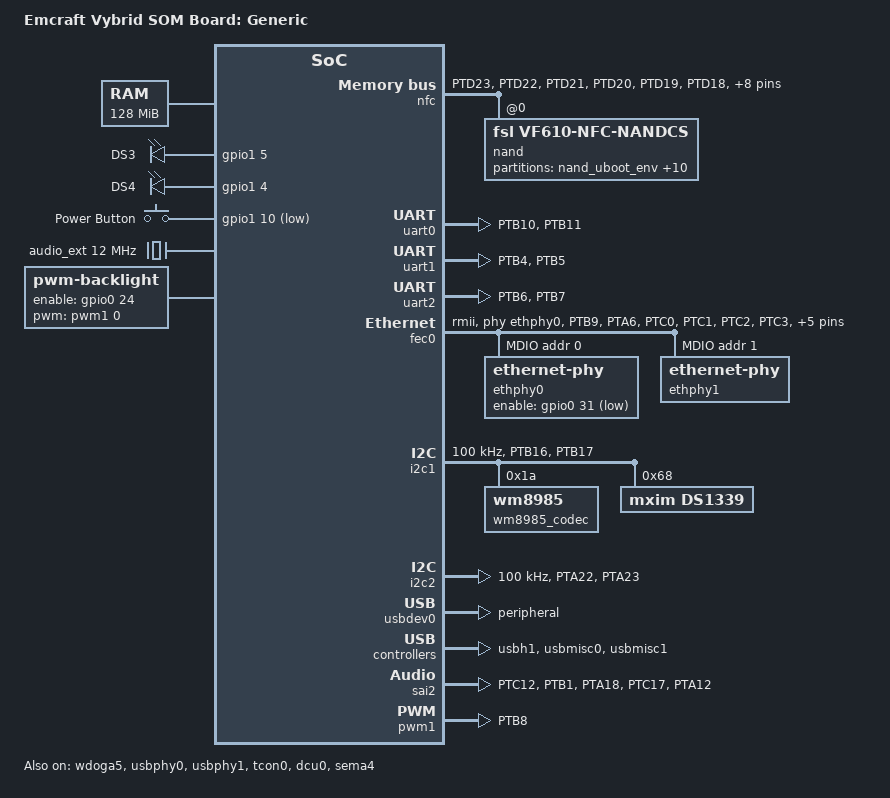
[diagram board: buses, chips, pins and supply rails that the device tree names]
/*
 * Copyright 2015 EmCraft Systems
 *
 * This program is free software; you can redistribute it and/or modify
 * it under the terms of the GNU General Public License as published by
 * the Free Software Foundation; either version 2 of the License, or
 * (at your option) any later version.
 */

/dts-v1/;
#include "vf610.dtsi"
#include <dt-bindings/input/input.h>

/ {
	model = "Emcraft Vybrid SOM Board: Generic";
	compatible = "fsl,vf610";

	aliases {
		ethernet0 = &fec0;
		i2c1 = &i2c1;
		i2c2 = &i2c2;
		spi0 = &dspi0;
		ds1339 = &ds1339;
	};

	memory {
		#address-cells = <1>;
		#size-cells = <1>;
		reg = <0x80000000 0x8000000>;
	};

	ocram0: sram@3f000000 {
		compatible = "mmio-sram";
		reg = <0x3f000000 0x40000>;
	};

	ddrmc0: ddrmc@400ae000 {
		compatible = "emcraft,ddrmc";
		reg = <0x400ae000 0x1000>;
	};

	soc {
		interrupt-parent = <&gpc>;
	
		aips0: aips-bus@40000000 {
			intc: interrupt-controller@40002000 {
				compatible = "arm,cortex-a9-gic";
				#interrupt-cells = <3>;
				interrupt-controller;
				interrupt-parent = <&intc>;
				reg = <0x40003000 0x1000>,
				      <0x40002100 0x100>;
			};

			global_timer: timer@40002200 {
				compatible = "arm,cortex-a9-global-timer";
				reg = <0x40002200 0x20>;
				interrupts = <11 IRQ_TYPE_LEVEL_HIGH>;
				interrupt-parent = <&intc>;
				clocks = <&clks VF610_CLK_PLATFORM_BUS>;
			};

			gpc: gpc@4006c000 {
				compatible = "fsl,vf610-gpc";
				reg = <0x4006c000 0x1000>;
				interrupt-controller;
				#interrupt-cells = <2>;
				interrupt-parent = <&mscm_ir>;
			};

			clks: ccm@4006b000 {
				compatible = "fsl,vf610-ccm";
				reg = <0x4006b000 0x1000>;
				clocks = <&sxosc>, <&fxosc>;
				clock-names = "sxosc", "fxosc";
				#clock-cells = <1>;
			};

			tcon0: tcon@4003d000 {
				compatible = "fsl,vf610-tcon";
				reg = <0x4003d000 0x1000>;
				clocks = <&clks VF610_CLK_TCON0>;
				clock-names = "tcon";
				status = "disabled";
			};

			dcu0: dcu@40058000 {
				compatible = "fsl,vf610-dcu";
				reg = <0x40058000 0x1200>;
				interrupts = <30 0x04>;
				clocks = <&clks VF610_CLK_DCU0>;
				clock-names = "dcu";
				tcon-controller = <&tcon0>;
				status = "disabled";
			};
			sema4: sema4@4001d000 {
				compatible = "fsl,mvf-sema4";
				reg = <0x4001d000 0x108>;
				interrupts = <4 IRQ_TYPE_LEVEL_HIGH>;
				status = "disabled";
			};
		}; /* aips0 */

		aips1: aips-bus@40080000 {
			nfc: nand@400e0000 {
				compatible = "fsl,vf610-nfc";
				//#address-cells = <1>;
				//#size-cells = <1>;
				reg = <0x400e0000 0x4000>;
				interrupts = <83 IRQ_TYPE_LEVEL_HIGH>;
				clocks = <&clks VF610_CLK_NFC>;
				clock-names = "nfc";
				status = "disabled";
			};

			uart4: serial@400a9000 {
				compatible = "fsl,vf610-uart";
				reg = <0x400a9000 0x1000>;
				interrupts = <65 IRQ_TYPE_LEVEL_HIGH>;
				clocks = <&clks VF610_CLK_UART4>;
				clock-names = "ipg";
				dmas = <&edma1 0 2>,
					<&edma1 0 3>;
				dma-names = "rx","tx";
				status = "disabled";
			};

			uart5: serial@400aa000 {
				compatible = "fsl,vf610-uart";
				reg = <0x400aa000 0x1000>;
				interrupts = <66 IRQ_TYPE_LEVEL_HIGH>;
				clocks = <&clks VF610_CLK_UART5>;
				clock-names = "ipg";
				dmas = <&edma1 0 4>,
					<&edma1 0 5>;
				dma-names = "rx","tx";
				status = "disabled";
			};
		}; /* aips1 */
	}; /* soc */

	leds {
		compatible = "gpio-leds";
		pinctrl-names = "default";
		pinctrl-0 = <&pinctrl_gpio_leds>;

		DS3 {
			gpios = <&gpio1 5 0>;
			default-state = "on";
		};

		DS4 {
			gpios = <&gpio1 4 0>;
			default-state = "on";
		};
	};

	gpio-keys {
		compatible = "gpio-keys";
		pinctrl-names = "default";
		pinctrl-0 = <&pinctrl_gpio_keys>;

		power {
			label = "Power Button";
			gpios = <&gpio1 10 GPIO_ACTIVE_LOW>;
			gpio-key,wakeup;
			linux,code = <KEY_POWER>;
		};
	};

	sound {
		compatible = "simple-audio-card";
		simple-audio-card,format = "i2s";

		simple-audio-card,cpu {
			sound-dai = <&sai2>;
		};

		simple-audio-card,codec {
			sound-dai = <&wm8985_codec>;
			frame-master;
			bitclock-master;
			frame-inversion;
			system-clock-frequency = <12000000>;
		};
	};

	audio_ext: audio_ext {
		compatible = "fixed-clock";
		#clock-cells = <0>;
		clock-frequency = <12000000>;
	};

	backlight: backlight {
		compatible = "pwm-backlight";
		enable-gpios = <&gpio0 24 GPIO_ACTIVE_HIGH>; 
		pwms = <&pwm1 0 2000000 0>;
		brightness-levels = <0 15 39 63 87 111 135 159 183 207 231 255>;
		default-brightness-level = <11>;
	};
};

&clks {
	clocks = <&sxosc>, <&fxosc>, <&audio_ext>;
	clock-names = "sxosc", "fxosc", "audio_ext";
};

&mscm_ir {
	interrupt-parent = <&intc>;
};

&edma0 {
	status = "okay";
};

&edma1 {
	status = "okay";
};

&iomuxc {
	pinctrl_uart0: uart0grp {
		fsl,pins = <
		VF610_PAD_PTB10__UART0_TX	(VF610_UART_PAD_CTRL | PAD_CTL_OBE_ENABLE)
		VF610_PAD_PTB11__UART0_RX	(VF610_UART_PAD_CTRL | PAD_CTL_IBE_ENABLE)
		>;
	};
	pinctrl_uart1: uart1grp {
		fsl,pins = <
		VF610_PAD_PTB4__UART1_TX	(VF610_UART_PAD_CTRL | PAD_CTL_OBE_ENABLE)
		VF610_PAD_PTB5__UART1_RX	(VF610_UART_PAD_CTRL | PAD_CTL_IBE_ENABLE)
		>;
	};
	pinctrl_uart2: uart2grp {
		fsl,pins = <
		VF610_PAD_PTB6__UART2_TX	(VF610_UART_PAD_CTRL | PAD_CTL_OBE_ENABLE)
		VF610_PAD_PTB7__UART2_RX	(VF610_UART_PAD_CTRL | PAD_CTL_IBE_ENABLE)
		>;
	};
	pinctrl_uart3: uart3grp {
		fsl,pins = <
		VF610_PAD_PTA20__UART3_TX	(VF610_UART_PAD_CTRL | PAD_CTL_OBE_ENABLE)
		VF610_PAD_PTA21__UART3_RX	(VF610_UART_PAD_CTRL | PAD_CTL_IBE_ENABLE)
		>;
	};
	pinctrl_uart5: uart5grp {
		fsl,pins = <
		VF610_PAD_PTC14__UART5_TX	(VF610_UART_PAD_CTRL | PAD_CTL_OBE_ENABLE)
		VF610_PAD_PTC15__UART5_RX	(VF610_UART_PAD_CTRL | PAD_CTL_IBE_ENABLE)
		>;
	};
	pinctrl_fec0: fec0grp {
		fsl,pins = <
		VF610_PAD_PTB9__GPIO_31			(VF610_GPIO_CTRL | PAD_CTL_OBE_ENABLE)
		VF610_PAD_PTA6__RMII_CLKOUT		(PAD_CTL_SPEED_MED | PAD_CTL_SRE_FAST | PAD_CTL_DSE_30ohm | PAD_CTL_OBE_ENABLE)
		VF610_PAD_PTC0__ENET_RMII0_MDC		(VF610_ENET_PAD_CTRL | PAD_CTL_OBE_ENABLE)
		VF610_PAD_PTC1__ENET_RMII0_MDIO	(VF610_ENET_PAD_CTRL | PAD_CTL_OBE_IBE_ENABLE)
		VF610_PAD_PTC2__ENET_RMII0_CRS		(VF610_ENET_PAD_CTRL | PAD_CTL_IBE_ENABLE)
		VF610_PAD_PTC3__ENET_RMII0_RXD1	(VF610_ENET_PAD_CTRL | PAD_CTL_IBE_ENABLE)
		VF610_PAD_PTC4__ENET_RMII0_RXD0	(VF610_ENET_PAD_CTRL | PAD_CTL_IBE_ENABLE)
		VF610_PAD_PTC5__ENET_RMII0_RXER	(VF610_ENET_PAD_CTRL | PAD_CTL_IBE_ENABLE)
		VF610_PAD_PTC6__ENET_RMII0_TXD1	(VF610_ENET_PAD_CTRL | PAD_CTL_OBE_ENABLE)
		VF610_PAD_PTC7__ENET_RMII0_TXD0	(VF610_ENET_PAD_CTRL | PAD_CTL_OBE_ENABLE)
		VF610_PAD_PTC8__ENET_RMII0_TXEN	(VF610_ENET_PAD_CTRL | PAD_CTL_OBE_ENABLE)
		>;
	};
	pinctrl_i2c1: i2c1grp {
		fsl,pins = <
		VF610_PAD_PTB16__I2C1_SCL	(VF610_I2C_PAD_CTRL | PAD_CTL_OBE_IBE_ENABLE)
		VF610_PAD_PTB17__I2C1_SDA	(VF610_I2C_PAD_CTRL | PAD_CTL_OBE_IBE_ENABLE)
		>;
	};
	pinctrl_i2c2: i2c2grp {
		fsl,pins = <
		VF610_PAD_PTA22__I2C2_SCL	(VF610_I2C_PAD_CTRL | PAD_CTL_OBE_IBE_ENABLE)
		VF610_PAD_PTA23__I2C2_SDA	(VF610_I2C_PAD_CTRL | PAD_CTL_OBE_IBE_ENABLE)
		>;
	};
	pinctrl_nfc_1: nfcgrp_1 {
		fsl,pins = <
		VF610_PAD_PTD23__NF_IO7		(VF610_NAND_PAD_CTRL | PAD_CTL_PKE | PAD_CTL_PUE | PAD_CTL_OBE_IBE_ENABLE)
		VF610_PAD_PTD22__NF_IO6		(VF610_NAND_PAD_CTRL | PAD_CTL_PKE | PAD_CTL_PUE | PAD_CTL_OBE_IBE_ENABLE)
		VF610_PAD_PTD21__NF_IO5		(VF610_NAND_PAD_CTRL | PAD_CTL_PKE | PAD_CTL_PUE | PAD_CTL_OBE_IBE_ENABLE)
		VF610_PAD_PTD20__NF_IO4		(VF610_NAND_PAD_CTRL | PAD_CTL_PKE | PAD_CTL_PUE | PAD_CTL_OBE_IBE_ENABLE)
		VF610_PAD_PTD19__NF_IO3		(VF610_NAND_PAD_CTRL | PAD_CTL_PKE | PAD_CTL_PUE | PAD_CTL_OBE_IBE_ENABLE)
		VF610_PAD_PTD18__NF_IO2		(VF610_NAND_PAD_CTRL | PAD_CTL_PKE | PAD_CTL_PUE | PAD_CTL_OBE_IBE_ENABLE)
		VF610_PAD_PTD17__NF_IO1		(VF610_NAND_PAD_CTRL | PAD_CTL_PKE | PAD_CTL_PUE | PAD_CTL_OBE_IBE_ENABLE)
		VF610_PAD_PTD16__NF_IO0		(VF610_NAND_PAD_CTRL | PAD_CTL_PKE | PAD_CTL_PUE | PAD_CTL_OBE_IBE_ENABLE)
		VF610_PAD_PTC26__NF_RB_B	(VF610_NAND_PAD_CTRL | PAD_CTL_PKE | PAD_CTL_PUE | PAD_CTL_IBE_ENABLE)
		VF610_PAD_PTB24__NF_WE_B	(VF610_NAND_PAD_CTRL | PAD_CTL_OBE_ENABLE)
		VF610_PAD_PTB25__NF_CE0_B	(VF610_NAND_PAD_CTRL | PAD_CTL_OBE_ENABLE)
		VF610_PAD_PTB27__NF_RE_B	(VF610_NAND_PAD_CTRL | PAD_CTL_OBE_ENABLE)
		VF610_PAD_PTC27__NF_ALE		(VF610_NAND_PAD_CTRL | PAD_CTL_OBE_ENABLE)
		VF610_PAD_PTC28__NF_CLE		(VF610_NAND_PAD_CTRL | PAD_CTL_OBE_ENABLE)
		>;
	};
	pinctrl_dspi0: dspi0grp {
		fsl,pins = <
		VF610_PAD_PTB19__DSPI0_CS0	(VF610_DSPI_PAD_CTRL | PAD_CTL_OBE_ENABLE)
		VF610_PAD_PTB20__DSPI0_SIN	(VF610_DSPI_PAD_CTRL | PAD_CTL_IBE_ENABLE)
		VF610_PAD_PTB21__DSPI0_SOUT	(VF610_DSPI_PAD_CTRL | PAD_CTL_OBE_ENABLE)
		VF610_PAD_PTB22__DSPI0_SCK	(VF610_DSPI_PAD_CTRL | PAD_CTL_OBE_ENABLE)
		VF610_PAD_PTD27__GPIO_67	(VF610_GPIO_CTRL | PAD_CTL_OBE_ENABLE)
		VF610_PAD_PTD29__GPIO_65	(VF610_GPIO_CTRL | PAD_CTL_OBE_ENABLE)
		>;
	};
	pinctrl_middle_lcd: lcd0grp {
		fsl,pins = <
		VF610_PAD_PTE16__GPIO_121	(VF610_GPIO_CTRL | PAD_CTL_OBE_ENABLE)
		VF610_PAD_PTE17__GPIO_122	(VF610_GPIO_CTRL | PAD_CTL_OBE_ENABLE)
		>;
	};
	pinctrl_dcu0_1: dcu0grp_1 {
		fsl,pins = <
		VF610_PAD_PTE0__DCU0_HSYNC	VF610_DCU_PAD_CTRL
		VF610_PAD_PTE1__DCU0_VSYNC	VF610_DCU_PAD_CTRL
		VF610_PAD_PTE2__DCU0_PCLK	VF610_DCU_PAD_CTRL
		VF610_PAD_PTE4__DCU0_DE		VF610_DCU_PAD_CTRL
		VF610_PAD_PTE5__DCU0_R0		VF610_DCU_PAD_CTRL
		VF610_PAD_PTE6__DCU0_R1		VF610_DCU_PAD_CTRL
		VF610_PAD_PTE7__DCU0_R2		VF610_DCU_PAD_CTRL
		VF610_PAD_PTE8__DCU0_R3		VF610_DCU_PAD_CTRL
		VF610_PAD_PTE9__DCU0_R4		VF610_DCU_PAD_CTRL
		VF610_PAD_PTE10__DCU0_R5	VF610_DCU_PAD_CTRL
		VF610_PAD_PTE11__DCU0_R6	VF610_DCU_PAD_CTRL
		VF610_PAD_PTE12__DCU0_R7	VF610_DCU_PAD_CTRL
		VF610_PAD_PTE13__DCU0_G0	VF610_DCU_PAD_CTRL
		VF610_PAD_PTE14__DCU0_G1	VF610_DCU_PAD_CTRL
		VF610_PAD_PTE15__DCU0_G2	VF610_DCU_PAD_CTRL
		VF610_PAD_PTE16__DCU0_G3	VF610_DCU_PAD_CTRL
		VF610_PAD_PTE17__DCU0_G4	VF610_DCU_PAD_CTRL
		VF610_PAD_PTE18__DCU0_G5	VF610_DCU_PAD_CTRL
		VF610_PAD_PTE19__DCU0_G6	VF610_DCU_PAD_CTRL
		VF610_PAD_PTE20__DCU0_G7	VF610_DCU_PAD_CTRL
		VF610_PAD_PTE21__DCU0_B0	VF610_DCU_PAD_CTRL
		VF610_PAD_PTE22__DCU0_B1	VF610_DCU_PAD_CTRL
		VF610_PAD_PTE23__DCU0_B2	VF610_DCU_PAD_CTRL
		VF610_PAD_PTE24__DCU0_B3	VF610_DCU_PAD_CTRL
		VF610_PAD_PTE25__DCU0_B4	VF610_DCU_PAD_CTRL
		VF610_PAD_PTE26__DCU0_B5	VF610_DCU_PAD_CTRL
		VF610_PAD_PTE27__DCU0_B6	VF610_DCU_PAD_CTRL
		VF610_PAD_PTE28__DCU0_B7	VF610_DCU_PAD_CTRL
		>;
	};
	pinctrl_gpio_leds: leds0grp {
		fsl,pins = <
		VF610_PAD_PTB14__GPIO_36	(VF610_GPIO_CTRL | PAD_CTL_OBE_ENABLE)
		VF610_PAD_PTB15__GPIO_37	(VF610_GPIO_CTRL | PAD_CTL_OBE_ENABLE)
		>;
	};
	pinctrl_gpio_keys: keys0grp {
		fsl,pins = <
		VF610_PAD_PTB20__GPIO_42	(VF610_GPIO_CTRL | PAD_CTL_IBE_ENABLE)
		>;
	};
	pinctrl_usb0: usb0grp {
		fsl,pins = <
		VF610_PAD_PTC9__GPIO_54		(VF610_GPIO_CTRL | PAD_CTL_OBE_ENABLE)
		>;
	};
	pinctrl_usb1: usb1grp {
		fsl,pins = <
		VF610_PAD_PTC10__GPIO_55	(VF610_GPIO_CTRL | PAD_CTL_OBE_ENABLE)
		>;
	};
	pinctrl_sai2: sai2grp {
		fsl,pins = <
		VF610_PAD_PTC12__SAI2_TX_BCLK		0x02ed
		VF610_PAD_PTB1__SAI2_RX_DATA		0x02ee
		VF610_PAD_PTA18__SAI2_TX_DATA		0x02ed
		VF610_PAD_PTC17__SAI2_TX_SYNC		0x02ed
		VF610_PAD_PTA12__EXT_AUDIO_MCLK		0x02ed
		>;
	};
	pinctrl_gpios: gpios_grp {
		fsl,pins = <
		/* FITCORE_BSB_PAD56_PTC11_nPOWERDOWN */
		VF610_PAD_PTC11__GPIO_56	(VF610_GPIO_CTRL | PAD_CTL_OBE_ENABLE)
		/* FITCORE_BSB_PAD17_PTA27_ACC_ID_EN */
		VF610_PAD_PTA27__GPIO_17	(VF610_GPIO_CTRL | PAD_CTL_OBE_ENABLE)
		/* FITCORE_BSB_PAD15_PTA25_ACC_POWER */
		VF610_PAD_PTA25__GPIO_15	(PAD_CTL_PKE | PAD_CTL_SPEED_MED | PAD_CTL_DSE_25ohm)
		/* FITCORE_BSB_PAD103_PTC30_APPLE_AUTH_RESET */
		VF610_PAD_PTC30__GPIO_103	(VF610_GPIO_CTRL | PAD_CTL_OBE_ENABLE | PAD_CTL_ODE)
		/* FITCORE_BSB_PAD85_PTD6_VCARDIO_ENABLE */
		VF610_PAD_PTD6__GPIO_85		(VF610_GPIO_CTRL | PAD_CTL_OBE_ENABLE)
		/* FITCORE_BSB_PAD63_PTD31_POWER_EN */
		VF610_PAD_PTD31__GPIO_63	(VF610_GPIO_CTRL | PAD_CTL_OBE_ENABLE)
		/* FITCORE_BSB_PAD96_PTB26_12V_POWER_EN */
		VF610_PAD_PTB26__GPIO_96	(VF610_GPIO_CTRL | PAD_CTL_OBE_ENABLE)
		/* FITCORE_BSB_PAD35_PTB13_HUB_PWR_ENABLE */
		VF610_PAD_PTB13__GPIO_35	(VF610_GPIO_CTRL | PAD_CTL_OBE_ENABLE)
		/* FITCORE_BSB_PAD65_PTD29_HUB_RESET */
		VF610_PAD_PTD29__GPIO_65	(PAD_CTL_DSE_150ohm | PAD_CTL_OBE_ENABLE | PAD_CTL_ODE)
		/* FITCORE_BSB_PAD67_PTD27__HP_nDETECT */
		VF610_PAD_PTD27__GPIO_67	(PAD_CTL_PKE | PAD_CTL_SPEED_MED | PAD_CTL_DSE_25ohm)
		/* FITCORE_BSB_PAD104_PTC31__IPOD_DETECT */
		VF610_PAD_PTC31__GPIO_104	(VF610_GPIO_CTRL)
		/* FITCORE_BSB_PAD24_PTB2_LCD_ENABLE */
		VF610_PAD_PTB2__GPIO_24		(VF610_GPIO_CTRL | PAD_CTL_OBE_ENABLE)
		/* FITCORE_BSB_PAD86_PTD7_USBA_nSW */
		VF610_PAD_PTD7__GPIO_86		(VF610_GPIO_CTRL | PAD_CTL_OBE_ENABLE)
		>;
	};
	pinctrl_ds1339: ds1339grp {
		fsl,pins = <
		VF610_PAD_PTB12__GPIO_34	(VF610_GPIO_CTRL | PAD_CTL_IBE_ENABLE)
		>;
	};
	pinctrl_pwm1: pwm1grp {
		fsl,pins = <
		VF610_PAD_PTB8__FTM1_CH0	(VF610_HIGH_DRV | PAD_CTL_OBE_ENABLE)
		>;
	};
};

&nfc {
#if 1
	assigned-clocks = <&clks VF610_CLK_NFC>, <&clks VF610_CLK_NFC_EN>,
			<&clks VF610_CLK_NFC_SEL>, <&clks VF610_CLK_NFC_PRE_DIV>,
			<&clks VF610_CLK_NFC_FRAC_DIV>, <&clks VF610_CLK_PLL3_PFD1>;
	assigned-clock-parents = <0>, <0>, <&clks VF610_CLK_PLL3_PFD1>, <0>, <0>, <0>;
	assigned-clock-rates = <0>, <0>, <0>, <480000000>, <40000000>, <480000000>;
#else
	assigned-clocks = <&clks VF610_CLK_NFC>, <&clks VF610_CLK_NFC_EN>,
			<&clks VF610_CLK_NFC_SEL>, <&clks VF610_CLK_NFC_PRE_DIV>,
			<&clks VF610_CLK_NFC_FRAC_DIV>, <&clks VF610_CLK_PLL1_PFD1>;
	assigned-clock-parents = <0>, <0>, <&clks VF610_CLK_PLL1_PFD1>, <0>, <0>, <0>;
	assigned-clock-rates = <0>, <0>, <0>, <320000000>, <40000000>, <498000000>;
#endif
	pinctrl-names = "default";
	pinctrl-0 = <&pinctrl_nfc_1>;
	status = "okay";

	nand@0 {
		compatible = "fsl,vf610-nfc-nandcs";
		reg = <0>;
		#address-cells = <1>;
		#size-cells = <1>;
		nand-bus-width = <8>;
		nand-ecc-mode = "hw";
		nand-ecc-strength = <24>;
		nand-ecc-step-size = <2048>;
		nand-on-flash-bbt;

		partition@0 {
			    label = "nand_uboot_env";
			    reg = <0x0 0x120000>;
		};

		partition@1 {
			    label = "nand_splash1_image";
			    reg = <0x120000 0x180000>;
		};

		partition@2 {
			    label = "nand_mqx1_image";
			    reg = <0x2a0000 0x100000>;
		};

		partition@3 {
			    label = "nand_linux1_image";
			    reg = <0x3A0000 0x5000000>;
		};

		partition@4 {
			    label = "nand_romfs1_image";
			    reg = <0x53a0000 0x9000000>;
		};

		partition@5 {
			    label = "nand_splash2_image";
			    reg = <0xe3a0000 0x180000>;
		};

		partition@6 {
			    label = "nand_mqx2_image";
			    reg = <0xe520000 0x100000>;
		};

		partition@7 {
			    label = "nand_linux2_image";
			    reg = <0xe620000 0x5000000>;
		};

		partition@8 {
			    label = "nand_romfs2_image";
			    reg = <0x13620000 0xA000000>;
		};

		partition@9 {
			    label = "nand_recovery_image";
			    reg = <0x1c620000 0x1000000>;
		};

		partition@10 {
			    label = "nand_jffs2";
			    reg = <0x1d620000 0x29e0000>;
		};
	};
};

&wdoga5 {
	status = "okay";
};

&uart0 {
	compatible = "fsl,vf610-uart";
	pinctrl-names = "default";
	pinctrl-0 = <&pinctrl_uart0>;
	status = "okay";
};

&uart1 {
	compatible = "fsl,vf610-uart";
	pinctrl-names = "default";
	pinctrl-0 = <&pinctrl_uart1>;
	status = "okay";
};

&uart2 {
	compatible = "fsl,vf610-uart";
	pinctrl-names = "default";
	pinctrl-0 = <&pinctrl_uart2>;
	status = "okay";
};

&uart3 {
	compatible = "fsl,vf610-uart";
	pinctrl-names = "default";
	pinctrl-0 = <&pinctrl_uart3>;
	status = "disabled";
};

&uart5 {
	compatible = "fsl,vf610-uart";
	pinctrl-names = "default";
	pinctrl-0 = <&pinctrl_uart5>;
	status = "disabled";
};

&fec0 {
	phy-mode = "rmii";
	phy-handle = <&ethphy0>;
	pinctrl-names = "default";
	pinctrl-0 = <&pinctrl_fec0>;
	status = "okay";

	clocks = <&clks VF610_CLK_ENET0>,
		<&clks VF610_CLK_PLL5_ENET>,
		<&clks VF610_CLK_ENET_SEL>,
		<&clks VF610_CLK_ENET>,
		<&clks VF610_CLK_ENET_50M>;
	clock-parents = <0>, <0>, <&clks VF610_CLK_ENET_50M>, <0>, <0>;
	clock-names = "ipg", "ahb", "enet_sel", "enet_out", "enet_50m";
	assigned-clocks = <&clks VF610_CLK_ENET_SEL>;	
	assigned-clock-parents = <&clks VF610_CLK_ENET_50M>;

	mdio {
		#address-cells = <1>;
		#size-cells = <0>;

		ethphy0: ethernet-phy@0 {
			reg = <0>;
			clocks = <&clks VF610_CLK_ENET_50M>;
			clock-names = "rmii-ref";
			enable-gpios = <&gpio0 31 GPIO_ACTIVE_LOW>;
			force-rmii-mode;
		};

		ethphy1: ethernet-phy@1 {
			reg = <1>;
			clocks = <&clks VF610_CLK_ENET_50M>;
			clock-names = "rmii-ref";
		};
	};
};

&i2c1 {
	clock-frequency = <100000>;
	pinctrl-names = "default";
	pinctrl-0 = <&pinctrl_i2c1>;
	status = "okay";

	wm8985_codec: wm8985@1a {
	       #sound-dai-cells = <0>;
	       compatible = "wm8985";
	       reg = <0x1a>;
	       clocks = <&clks VF610_CLK_SAI2>;
       };
	ds1339: rtc@68 {
		compatible = "mxim,ds1339";
		reg = <0x68>;
		interrupts = <75 IRQ_TYPE_EDGE_FALLING>;
		pinctrl-names = "default";
		pinctrl-0 = <&pinctrl_ds1339>;
	};
};

&i2c2 {
	clock-frequency = <100000>;
	pinctrl-names = "default";
	pinctrl-0 = <&pinctrl_i2c2>;
	status = "okay";
};

&tcon0 {
	status = "okay";
};

&dcu0 {
	pinctrl-names = "default";
	pinctrl-0 = <&pinctrl_dcu0_1>;
	display = <&display>;
	status = "okay";

	lcd-en-gpios = <&gpio2 3 GPIO_ACTIVE_HIGH>;
	lcd-backlight-gpios = <&gpio2 1 GPIO_ACTIVE_LOW>;
	lcd-backlight-gpio-inverted;

	display: display@0 {
		bits-per-pixel = <24>;

		display-timings {
			native-mode = <&timing0>;
			timing0: promate7 {
				clock-frequency = <33000000>;
				hactive = <800>;
				vactive = <480>;
				hback-porch = <0>;
				hfront-porch = <0>;
				vback-porch = <0>;
				vfront-porch = <0>;
				hsync-len = <256>;
				vsync-len = <45>;
				hsync-active = <0>;
				vsync-active = <1>;
			};
		};
	};
};

/*&dspi0 {
	bus-num = <0>;
	pinctrl-names = "default";
	pinctrl-0 = <&pinctrl_dspi0>;
	status = "okay";

	middle_lcd: st7529@0 {
		#address-cells = <1>;
		#size-cells = <1>;
		reg = <0>;
		spi-max-frequency = <20000000>;
		fsl,spi-sck-cs-delay = <70>;
		spi-cpol;
		spi-cpha;

		compatible = "emcraft,st7529";
		pinctrl-names = "default";
		pinctrl-0 = <&pinctrl_middle_lcd>;
		xres = <240>;
		yres = <128>;
		bits_per_pixel = <8>;
		grayscale = <1>;
		nres-gpios = <&gpio3 25 GPIO_ACTIVE_LOW>;
		a0-gpios = <&gpio3 26 GPIO_ACTIVE_LOW>;
	};
};*/

&usbdev0 {
	//compatible = "fsl-usb2-udc";
	disable-over-current;
	dr_mode = "peripheral";
	status = "okay";
};

&usbh1 {
	disable-over-current;
	status = "okay";
};

&usbmisc0 {
	status = "okay";
};

&usbmisc1 {
	status = "okay";
};

&usbphy0 {
	pinctrl-names = "default";
	pinctrl-0 = <&pinctrl_usb0>;
	fsl,phy-pwr-en-gpio = <&gpio1 22 0>;
	status = "okay";
};

&usbphy1 {
	pinctrl-names = "default";
	pinctrl-0 = <&pinctrl_usb1>;
	fsl,phy-pwr-en-gpio = <&gpio1 23 0>;
	status = "okay";
};

&sai2 {
	#sound-dai-cells = <0>;
	pinctrl-names = "default";
	pinctrl-0 = <&pinctrl_sai2>;
	status = "okay";

	clocks = <&clks VF610_CLK_SAI2>, <&clks VF610_CLK_SAI2_SEL>;
	assigned-clocks = <&clks VF610_CLK_SAI2_SEL>;
	assigned-clock-parents = <&clks VF610_CLK_AUDIO_EXT>;
	clock-names = "bus";
};

&sema4 {
	status = "okay";
};

&pwm1 {
	status = "okay";
	pinctrl-names = "default";
	pinctrl-0 = <&pinctrl_pwm1>;
};
